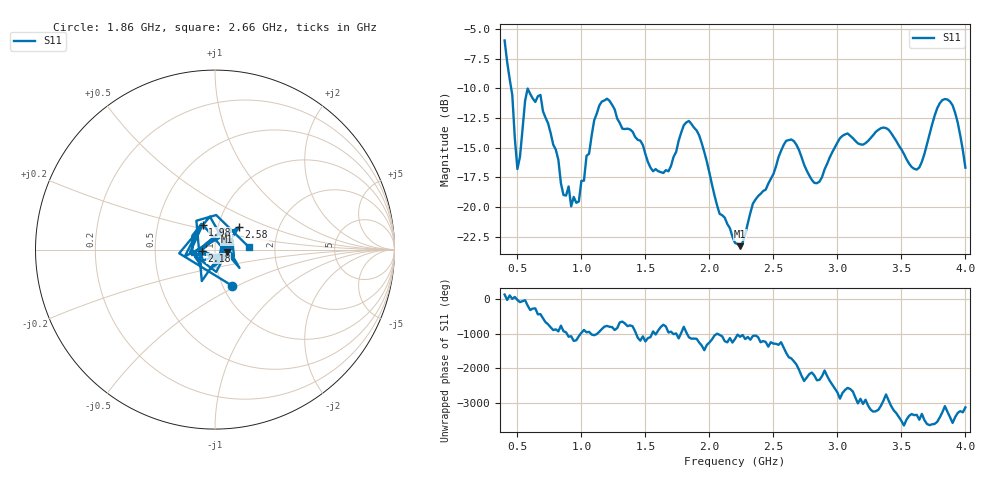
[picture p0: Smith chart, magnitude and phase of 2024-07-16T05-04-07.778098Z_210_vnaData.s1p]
!Created with skrf (http://scikit-rf.org).
# Hz S RI R 50.0
!freq ReS11 ImS11
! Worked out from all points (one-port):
!   181 points, 400 MHz to 4 GHz, reference 50 ohm
!   lowest |S11| = -23.3 dB at 2.24 GHz (marker M1), VSWR 1.15, Z = 57.2 - j1.35 ohm
!   |S11| at or under -10 dB: 451.7 MHz to end of sweep
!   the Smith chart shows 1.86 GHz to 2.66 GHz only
!   S11 on the Smith chart (normalised r, x): 1.86 GHz: 1.11, -0.47; 1.98 GHz: 0.84, +0.24; 2.18 GHz: 0.86, -0.01; 2.58 GHz: 1.26, +0.32; 2.66 GHz: 1.47, +0.04
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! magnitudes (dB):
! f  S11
! 400 MHz  -6.0
! 460 MHz  -10.5
! 500 MHz  -16.8
! 580 MHz  -10.0
! 680 MHz  -10.6
! 860 MHz  -19.0
! 980 MHz  -19.5
! 1.16 GHz  -11.1
! 1.3 GHz  -12.9
! 1.56 GHz  -17.0
! 1.68 GHz  -17.0
! 1.76 GHz  -14.4
! 1.86 GHz  -13.0
! 1.98 GHz  -16.2
! 2.08 GHz  -20.6
! 2.18 GHz  -22.5
! 2.2 GHz  -23.0
! 2.24 GHz  -23.3
! 2.58 GHz  -14.8
! 2.66 GHz  -14.4
! 2.84 GHz  -18.0
! 3.1 GHz  -14.0
! 3.38 GHz  -13.3
! 3.56 GHz  -16.3
! 3.64 GHz  -16.7
! 3.84 GHz  -10.9
! 3.92 GHz  -12.1
! 4 GHz  -16.7
